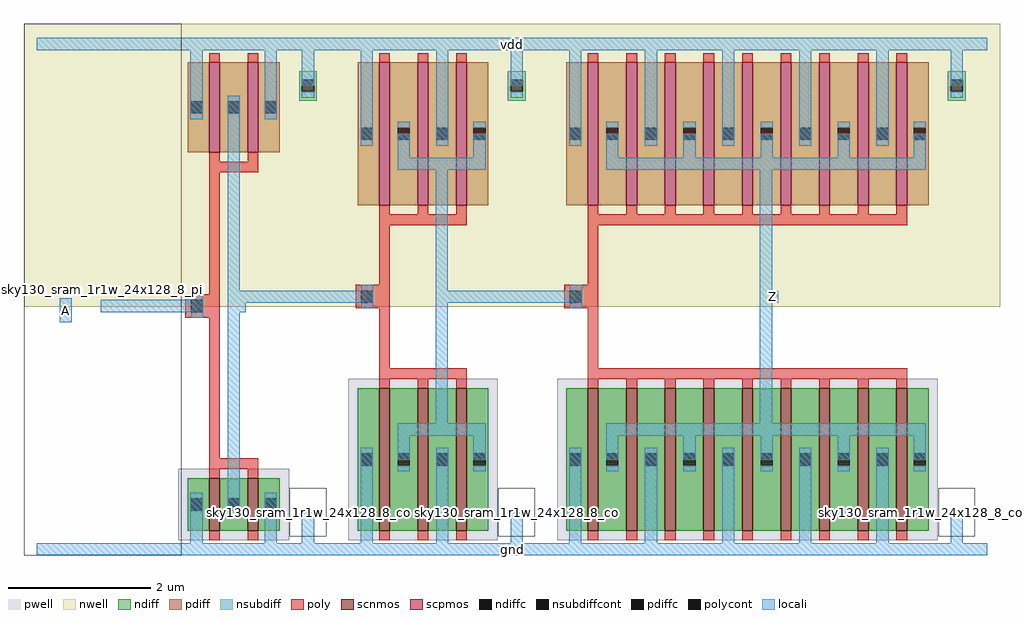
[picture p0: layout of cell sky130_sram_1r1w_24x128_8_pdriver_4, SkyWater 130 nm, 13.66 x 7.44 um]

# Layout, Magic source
magic
tech sky130B
magscale 1 2
<< nwell >>
rect -36 679 2696 1471
<< locali >>
rect 0 1397 2660 1431
rect 64 636 98 702
rect 179 664 449 698
rect 551 690 925 724
rect 1150 690 1509 724
rect 2041 690 2075 724
rect 551 681 585 690
rect 0 -17 2660 17
use sky130_sram_1r1w_24x128_8_pinv_5  sky130_sram_1r1w_24x128_8_pinv_5_0
transform 1 0 0 0 1 0
box -36 -17 404 1471
use sky130_sram_1r1w_24x128_8_pinv_6  sky130_sram_1r1w_24x128_8_pinv_6_0
transform 1 0 368 0 1 0
box -36 -17 512 1471
use sky130_sram_1r1w_24x128_8_pinv_14  sky130_sram_1r1w_24x128_8_pinv_14_0
transform 1 0 844 0 1 0
box -36 -17 620 1471
use sky130_sram_1r1w_24x128_8_pinv_15  sky130_sram_1r1w_24x128_8_pinv_15_0
transform 1 0 1428 0 1 0
box -36 -17 1268 1471
<< labels >>
rlabel locali s 2058 707 2058 707 4 Z
port 1 nsew
rlabel locali s 81 669 81 669 4 A
port 2 nsew
rlabel locali s 1330 0 1330 0 4 gnd
port 3 nsew
rlabel locali s 1330 1414 1330 1414 4 vdd
port 4 nsew
<< properties >>
string FIXED_BBOX 0 0 2660 1414
<< end >>

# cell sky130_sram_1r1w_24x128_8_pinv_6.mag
magic
tech sky130B
magscale 1 2
<< nwell >>
rect -36 679 512 1471
<< poly >>
rect 114 714 144 1055
rect 81 648 144 714
rect 114 255 144 648
<< locali >>
rect 0 1397 476 1431
rect 62 1204 96 1397
rect 64 648 98 714
rect 166 698 200 1270
rect 270 1204 304 1397
rect 374 1297 408 1397
rect 166 664 217 698
rect 166 92 200 664
rect 62 17 96 92
rect 270 17 304 92
rect 374 17 408 104
rect 0 -17 476 17
use sky130_sram_1r1w_24x128_8_contact_15  sky130_sram_1r1w_24x128_8_contact_15_0
transform 1 0 48 0 1 648
box 0 0 66 66
use sky130_sram_1r1w_24x128_8_contact_28  sky130_sram_1r1w_24x128_8_contact_28_0
transform 1 0 366 0 1 1256
box -59 -43 109 125
use sky130_sram_1r1w_24x128_8_contact_29  sky130_sram_1r1w_24x128_8_contact_29_0
transform 1 0 366 0 1 63
box -26 -26 76 108
use sky130_sram_1r1w_24x128_8_nmos_m2_w0_740_sli_dli_da_p  sky130_sram_1r1w_24x128_8_nmos_m2_w0_740_sli_dli_da_p_0
transform 1 0 54 0 1 51
box -26 -26 284 204
use sky130_sram_1r1w_24x128_8_pmos_m2_w1_260_sli_dli_da_p  sky130_sram_1r1w_24x128_8_pmos_m2_w1_260_sli_dli_da_p_0
transform 1 0 54 0 1 1111
box -59 -56 317 306
<< labels >>
rlabel locali s 81 681 81 681 4 A
port 1 nsew
rlabel locali s 200 681 200 681 4 Z
port 2 nsew
rlabel locali s 238 0 238 0 4 gnd
port 3 nsew
rlabel locali s 238 1414 238 1414 4 vdd
port 4 nsew
<< properties >>
string FIXED_BBOX 0 0 476 1414
<< end >>

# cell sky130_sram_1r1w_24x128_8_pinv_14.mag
magic
tech sky130B
magscale 1 2
<< nwell >>
rect -36 679 620 1471
<< poly >>
rect 114 740 144 907
rect 81 674 144 740
rect 114 507 144 674
<< locali >>
rect 0 1397 584 1431
rect 62 1130 96 1397
rect 274 1130 308 1397
rect 482 1297 516 1397
rect 64 674 98 740
rect 272 724 306 1096
rect 272 690 323 724
rect 272 318 306 690
rect 62 17 96 218
rect 274 17 308 218
rect 482 17 516 104
rect 0 -17 584 17
use sky130_sram_1r1w_24x128_8_contact_15  sky130_sram_1r1w_24x128_8_contact_15_0
transform 1 0 48 0 1 674
box 0 0 66 66
use sky130_sram_1r1w_24x128_8_contact_28  sky130_sram_1r1w_24x128_8_contact_28_0
transform 1 0 474 0 1 1256
box -59 -43 109 125
use sky130_sram_1r1w_24x128_8_contact_29  sky130_sram_1r1w_24x128_8_contact_29_0
transform 1 0 474 0 1 63
box -26 -26 76 108
use sky130_sram_1r1w_24x128_8_nmos_m3_w2_000_sli_dli_da_p  sky130_sram_1r1w_24x128_8_nmos_m3_w2_000_sli_dli_da_p_0
transform 1 0 54 0 1 51
box -26 -26 392 456
use sky130_sram_1r1w_24x128_8_pmos_m3_w2_000_sli_dli_da_p  sky130_sram_1r1w_24x128_8_pmos_m3_w2_000_sli_dli_da_p_0
transform 1 0 54 0 1 963
box -59 -56 425 454
<< labels >>
rlabel locali s 81 707 81 707 4 A
port 1 nsew
rlabel locali s 306 707 306 707 4 Z
port 2 nsew
rlabel locali s 292 0 292 0 4 gnd
port 3 nsew
rlabel locali s 292 1414 292 1414 4 vdd
port 4 nsew
<< properties >>
string FIXED_BBOX 0 0 584 1414
<< end >>

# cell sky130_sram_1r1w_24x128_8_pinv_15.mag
magic
tech sky130B
magscale 1 2
<< nwell >>
rect -36 679 1268 1471
<< poly >>
rect 114 740 144 907
rect 81 674 144 740
rect 114 507 144 674
<< locali >>
rect 0 1397 1232 1431
rect 62 1130 96 1397
rect 274 1130 308 1397
rect 490 1130 524 1397
rect 706 1130 740 1397
rect 922 1130 956 1397
rect 1130 1297 1164 1397
rect 64 674 98 740
rect 596 724 630 1096
rect 596 690 647 724
rect 596 318 630 690
rect 62 17 96 218
rect 274 17 308 218
rect 490 17 524 218
rect 706 17 740 218
rect 922 17 956 218
rect 1130 17 1164 104
rect 0 -17 1232 17
use sky130_sram_1r1w_24x128_8_contact_15  sky130_sram_1r1w_24x128_8_contact_15_0
transform 1 0 48 0 1 674
box 0 0 66 66
use sky130_sram_1r1w_24x128_8_contact_28  sky130_sram_1r1w_24x128_8_contact_28_0
transform 1 0 1122 0 1 1256
box -59 -43 109 125
use sky130_sram_1r1w_24x128_8_contact_29  sky130_sram_1r1w_24x128_8_contact_29_0
transform 1 0 1122 0 1 63
box -26 -26 76 108
use sky130_sram_1r1w_24x128_8_nmos_m9_w2_000_sli_dli_da_p  sky130_sram_1r1w_24x128_8_nmos_m9_w2_000_sli_dli_da_p_0
transform 1 0 54 0 1 51
box -26 -26 1040 456
use sky130_sram_1r1w_24x128_8_pmos_m9_w2_000_sli_dli_da_p  sky130_sram_1r1w_24x128_8_pmos_m9_w2_000_sli_dli_da_p_0
transform 1 0 54 0 1 963
box -59 -56 1073 454
<< labels >>
rlabel locali s 81 707 81 707 4 A
port 1 nsew
rlabel locali s 630 707 630 707 4 Z
port 2 nsew
rlabel locali s 616 0 616 0 4 gnd
port 3 nsew
rlabel locali s 616 1414 616 1414 4 vdd
port 4 nsew
<< properties >>
string FIXED_BBOX 0 0 1232 1414
<< end >>

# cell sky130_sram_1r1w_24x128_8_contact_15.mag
magic
tech sky130B
<< poly >>
rect 0 25 33 33
rect 0 8 8 25
rect 25 8 33 25
rect 0 0 33 8
<< polycont >>
rect 8 8 25 25
<< locali >>
rect 8 25 25 33
rect 8 0 25 8
<< properties >>
string FIXED_BBOX -10 -10 43 43
<< end >>

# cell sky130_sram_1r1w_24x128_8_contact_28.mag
magic
tech sky130B
magscale 1 2
<< nwell >>
rect -59 -43 109 125
<< nsubdiff >>
rect 0 58 50 82
rect 0 24 8 58
rect 42 24 50 58
rect 0 0 50 24
<< nsubdiffcont >>
rect 8 24 42 58
<< locali >>
rect 8 58 42 74
rect 8 8 42 24
<< properties >>
string FIXED_BBOX -59 -43 109 125
<< end >>

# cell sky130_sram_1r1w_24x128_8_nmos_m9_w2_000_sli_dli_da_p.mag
magic
tech sky130B
magscale 1 2
<< pwell >>
rect -26 -26 1040 426
<< scnmos >>
rect 60 0 90 400
rect 168 0 198 400
rect 276 0 306 400
rect 384 0 414 400
rect 492 0 522 400
rect 600 0 630 400
rect 708 0 738 400
rect 816 0 846 400
rect 924 0 954 400
<< ndiff >>
rect 0 0 60 400
rect 90 0 168 400
rect 198 0 276 400
rect 306 0 384 400
rect 414 0 492 400
rect 522 0 600 400
rect 630 0 708 400
rect 738 0 816 400
rect 846 0 924 400
rect 954 0 1014 400
<< poly >>
rect 60 426 954 456
rect 60 400 90 426
rect 168 400 198 426
rect 276 400 306 426
rect 384 400 414 426
rect 492 400 522 426
rect 600 400 630 426
rect 708 400 738 426
rect 816 400 846 426
rect 924 400 954 426
rect 60 -26 90 0
rect 168 -26 198 0
rect 276 -26 306 0
rect 384 -26 414 0
rect 492 -26 522 0
rect 600 -26 630 0
rect 708 -26 738 0
rect 816 -26 846 0
rect 924 -26 954 0
<< locali >>
rect 112 267 1006 301
rect 8 167 42 233
rect 112 200 146 267
rect 220 167 254 233
rect 328 200 362 267
rect 436 167 470 233
rect 544 200 578 267
rect 652 167 686 233
rect 760 200 794 267
rect 868 167 902 233
rect 972 200 1006 267
use sky130_sram_1r1w_24x128_8_contact_10  sky130_sram_1r1w_24x128_8_contact_10_0
transform 1 0 964 0 1 167
box -26 -22 76 88
use sky130_sram_1r1w_24x128_8_contact_10  sky130_sram_1r1w_24x128_8_contact_10_1
transform 1 0 860 0 1 167
box -26 -22 76 88
use sky130_sram_1r1w_24x128_8_contact_10  sky130_sram_1r1w_24x128_8_contact_10_2
transform 1 0 752 0 1 167
box -26 -22 76 88
use sky130_sram_1r1w_24x128_8_contact_10  sky130_sram_1r1w_24x128_8_contact_10_3
transform 1 0 644 0 1 167
box -26 -22 76 88
use sky130_sram_1r1w_24x128_8_contact_10  sky130_sram_1r1w_24x128_8_contact_10_4
transform 1 0 536 0 1 167
box -26 -22 76 88
use sky130_sram_1r1w_24x128_8_contact_10  sky130_sram_1r1w_24x128_8_contact_10_5
transform 1 0 428 0 1 167
box -26 -22 76 88
use sky130_sram_1r1w_24x128_8_contact_10  sky130_sram_1r1w_24x128_8_contact_10_6
transform 1 0 320 0 1 167
box -26 -22 76 88
use sky130_sram_1r1w_24x128_8_contact_10  sky130_sram_1r1w_24x128_8_contact_10_7
transform 1 0 212 0 1 167
box -26 -22 76 88
use sky130_sram_1r1w_24x128_8_contact_10  sky130_sram_1r1w_24x128_8_contact_10_8
transform 1 0 104 0 1 167
box -26 -22 76 88
use sky130_sram_1r1w_24x128_8_contact_10  sky130_sram_1r1w_24x128_8_contact_10_9
transform 1 0 0 0 1 167
box -26 -22 76 88
<< labels >>
rlabel poly s 507 441 507 441 4 G
port 1 nsew
rlabel locali s 885 200 885 200 4 S
port 2 nsew
rlabel locali s 237 200 237 200 4 S
port 2 nsew
rlabel locali s 669 200 669 200 4 S
port 2 nsew
rlabel locali s 25 200 25 200 4 S
port 2 nsew
rlabel locali s 453 200 453 200 4 S
port 2 nsew
rlabel locali s 559 284 559 284 4 D
port 3 nsew
<< properties >>
string FIXED_BBOX -25 -26 1039 456
<< end >>

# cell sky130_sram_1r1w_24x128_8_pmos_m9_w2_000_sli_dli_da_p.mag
magic
tech sky130B
magscale 1 2
<< nwell >>
rect -54 -54 1068 454
<< scpmos >>
rect 60 0 90 400
rect 168 0 198 400
rect 276 0 306 400
rect 384 0 414 400
rect 492 0 522 400
rect 600 0 630 400
rect 708 0 738 400
rect 816 0 846 400
rect 924 0 954 400
<< pdiff >>
rect 0 0 60 400
rect 90 0 168 400
rect 198 0 276 400
rect 306 0 384 400
rect 414 0 492 400
rect 522 0 600 400
rect 630 0 708 400
rect 738 0 816 400
rect 846 0 924 400
rect 954 0 1014 400
<< poly >>
rect 60 400 90 426
rect 168 400 198 426
rect 276 400 306 426
rect 384 400 414 426
rect 492 400 522 426
rect 600 400 630 426
rect 708 400 738 426
rect 816 400 846 426
rect 924 400 954 426
rect 60 -26 90 0
rect 168 -26 198 0
rect 276 -26 306 0
rect 384 -26 414 0
rect 492 -26 522 0
rect 600 -26 630 0
rect 708 -26 738 0
rect 816 -26 846 0
rect 924 -26 954 0
rect 60 -56 954 -26
<< locali >>
rect 8 167 42 233
rect 112 133 146 200
rect 220 167 254 233
rect 328 133 362 200
rect 436 167 470 233
rect 544 133 578 200
rect 652 167 686 233
rect 760 133 794 200
rect 868 167 902 233
rect 972 133 1006 200
rect 112 99 1006 133
use sky130_sram_1r1w_24x128_8_contact_11  sky130_sram_1r1w_24x128_8_contact_11_0
transform 1 0 964 0 1 167
box -59 -51 109 117
use sky130_sram_1r1w_24x128_8_contact_11  sky130_sram_1r1w_24x128_8_contact_11_1
transform 1 0 860 0 1 167
box -59 -51 109 117
use sky130_sram_1r1w_24x128_8_contact_11  sky130_sram_1r1w_24x128_8_contact_11_2
transform 1 0 752 0 1 167
box -59 -51 109 117
use sky130_sram_1r1w_24x128_8_contact_11  sky130_sram_1r1w_24x128_8_contact_11_3
transform 1 0 644 0 1 167
box -59 -51 109 117
use sky130_sram_1r1w_24x128_8_contact_11  sky130_sram_1r1w_24x128_8_contact_11_4
transform 1 0 536 0 1 167
box -59 -51 109 117
use sky130_sram_1r1w_24x128_8_contact_11  sky130_sram_1r1w_24x128_8_contact_11_5
transform 1 0 428 0 1 167
box -59 -51 109 117
use sky130_sram_1r1w_24x128_8_contact_11  sky130_sram_1r1w_24x128_8_contact_11_6
transform 1 0 320 0 1 167
box -59 -51 109 117
use sky130_sram_1r1w_24x128_8_contact_11  sky130_sram_1r1w_24x128_8_contact_11_7
transform 1 0 212 0 1 167
box -59 -51 109 117
use sky130_sram_1r1w_24x128_8_contact_11  sky130_sram_1r1w_24x128_8_contact_11_8
transform 1 0 104 0 1 167
box -59 -51 109 117
use sky130_sram_1r1w_24x128_8_contact_11  sky130_sram_1r1w_24x128_8_contact_11_9
transform 1 0 0 0 1 167
box -59 -51 109 117
<< labels >>
rlabel poly s 507 -41 507 -41 4 G
port 1 nsew
rlabel locali s 885 200 885 200 4 S
port 2 nsew
rlabel locali s 237 200 237 200 4 S
port 2 nsew
rlabel locali s 669 200 669 200 4 S
port 2 nsew
rlabel locali s 25 200 25 200 4 S
port 2 nsew
rlabel locali s 453 200 453 200 4 S
port 2 nsew
rlabel locali s 559 116 559 116 4 D
port 3 nsew
<< properties >>
string FIXED_BBOX -54 -56 1068 454
<< end >>

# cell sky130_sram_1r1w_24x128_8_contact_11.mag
magic
tech sky130B
magscale 1 2
<< nwell >>
rect -59 -51 109 117
<< pdiff >>
rect 0 50 50 62
rect 0 16 8 50
rect 42 16 50 50
rect 0 4 50 16
<< pdiffc >>
rect 8 16 42 50
<< locali >>
rect 8 50 42 66
rect 8 0 42 16
<< properties >>
string FIXED_BBOX -59 -51 109 117
<< end >>

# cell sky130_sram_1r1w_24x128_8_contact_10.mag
magic
tech sky130B
<< pwell >>
rect -13 -11 38 44
<< ndiff >>
rect 0 25 25 31
rect 0 8 4 25
rect 21 8 25 25
rect 0 2 25 8
<< ndiffc >>
rect 4 8 21 25
<< locali >>
rect 4 25 21 33
rect 4 0 21 8
<< properties >>
string FIXED_BBOX -12 -10 37 43
<< end >>

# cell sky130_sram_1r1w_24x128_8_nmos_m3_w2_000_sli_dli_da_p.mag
magic
tech sky130B
magscale 1 2
<< pwell >>
rect -26 -26 392 426
<< scnmos >>
rect 60 0 90 400
rect 168 0 198 400
rect 276 0 306 400
<< ndiff >>
rect 0 0 60 400
rect 90 0 168 400
rect 198 0 276 400
rect 306 0 366 400
<< poly >>
rect 60 426 306 456
rect 60 400 90 426
rect 168 400 198 426
rect 276 400 306 426
rect 60 -26 90 0
rect 168 -26 198 0
rect 276 -26 306 0
<< locali >>
rect 112 267 358 301
rect 8 167 42 233
rect 112 200 146 267
rect 220 167 254 233
rect 324 200 358 267
use sky130_sram_1r1w_24x128_8_contact_10  sky130_sram_1r1w_24x128_8_contact_10_0
transform 1 0 316 0 1 167
box -26 -22 76 88
use sky130_sram_1r1w_24x128_8_contact_10  sky130_sram_1r1w_24x128_8_contact_10_1
transform 1 0 212 0 1 167
box -26 -22 76 88
use sky130_sram_1r1w_24x128_8_contact_10  sky130_sram_1r1w_24x128_8_contact_10_2
transform 1 0 104 0 1 167
box -26 -22 76 88
use sky130_sram_1r1w_24x128_8_contact_10  sky130_sram_1r1w_24x128_8_contact_10_3
transform 1 0 0 0 1 167
box -26 -22 76 88
<< labels >>
rlabel poly s 183 441 183 441 4 G
port 1 nsew
rlabel locali s 25 200 25 200 4 S
port 2 nsew
rlabel locali s 237 200 237 200 4 S
port 2 nsew
rlabel locali s 235 284 235 284 4 D
port 3 nsew
<< properties >>
string FIXED_BBOX -25 -26 391 456
<< end >>

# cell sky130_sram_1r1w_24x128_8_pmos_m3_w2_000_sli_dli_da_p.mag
magic
tech sky130B
magscale 1 2
<< nwell >>
rect -54 -54 420 454
<< scpmos >>
rect 60 0 90 400
rect 168 0 198 400
rect 276 0 306 400
<< pdiff >>
rect 0 0 60 400
rect 90 0 168 400
rect 198 0 276 400
rect 306 0 366 400
<< poly >>
rect 60 400 90 426
rect 168 400 198 426
rect 276 400 306 426
rect 60 -26 90 0
rect 168 -26 198 0
rect 276 -26 306 0
rect 60 -56 306 -26
<< locali >>
rect 8 167 42 233
rect 112 133 146 200
rect 220 167 254 233
rect 324 133 358 200
rect 112 99 358 133
use sky130_sram_1r1w_24x128_8_contact_11  sky130_sram_1r1w_24x128_8_contact_11_0
transform 1 0 316 0 1 167
box -59 -51 109 117
use sky130_sram_1r1w_24x128_8_contact_11  sky130_sram_1r1w_24x128_8_contact_11_1
transform 1 0 212 0 1 167
box -59 -51 109 117
use sky130_sram_1r1w_24x128_8_contact_11  sky130_sram_1r1w_24x128_8_contact_11_2
transform 1 0 104 0 1 167
box -59 -51 109 117
use sky130_sram_1r1w_24x128_8_contact_11  sky130_sram_1r1w_24x128_8_contact_11_3
transform 1 0 0 0 1 167
box -59 -51 109 117
<< labels >>
rlabel poly s 183 -41 183 -41 4 G
port 1 nsew
rlabel locali s 25 200 25 200 4 S
port 2 nsew
rlabel locali s 237 200 237 200 4 S
port 2 nsew
rlabel locali s 235 116 235 116 4 D
port 3 nsew
<< properties >>
string FIXED_BBOX -54 -56 420 454
<< end >>

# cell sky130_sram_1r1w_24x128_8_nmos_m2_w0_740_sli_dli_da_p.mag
magic
tech sky130B
magscale 1 2
<< pwell >>
rect -26 -26 284 174
<< scnmos >>
rect 60 0 90 148
rect 168 0 198 148
<< ndiff >>
rect 0 0 60 148
rect 90 0 168 148
rect 198 0 258 148
<< poly >>
rect 60 174 198 204
rect 60 148 90 174
rect 168 148 198 174
rect 60 -26 90 0
rect 168 -26 198 0
<< locali >>
rect 8 41 42 107
rect 112 41 146 107
rect 216 41 250 107
use sky130_sram_1r1w_24x128_8_contact_10  sky130_sram_1r1w_24x128_8_contact_10_0
transform 1 0 208 0 1 41
box -26 -22 76 88
use sky130_sram_1r1w_24x128_8_contact_10  sky130_sram_1r1w_24x128_8_contact_10_1
transform 1 0 104 0 1 41
box -26 -22 76 88
use sky130_sram_1r1w_24x128_8_contact_10  sky130_sram_1r1w_24x128_8_contact_10_2
transform 1 0 0 0 1 41
box -26 -22 76 88
<< labels >>
rlabel poly s 129 189 129 189 4 G
port 1 nsew
rlabel locali s 233 74 233 74 4 S
port 2 nsew
rlabel locali s 25 74 25 74 4 S
port 2 nsew
rlabel locali s 129 74 129 74 4 D
port 3 nsew
<< properties >>
string FIXED_BBOX -25 -26 283 204
<< end >>

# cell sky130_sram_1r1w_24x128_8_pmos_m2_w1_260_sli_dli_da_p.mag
magic
tech sky130B
magscale 1 2
<< nwell >>
rect -54 -54 312 306
<< scpmos >>
rect 60 0 90 252
rect 168 0 198 252
<< pdiff >>
rect 0 0 60 252
rect 90 0 168 252
rect 198 0 258 252
<< poly >>
rect 60 252 90 278
rect 168 252 198 278
rect 60 -26 90 0
rect 168 -26 198 0
rect 60 -56 198 -26
<< locali >>
rect 8 93 42 159
rect 112 93 146 159
rect 216 93 250 159
use sky130_sram_1r1w_24x128_8_contact_11  sky130_sram_1r1w_24x128_8_contact_11_0
transform 1 0 208 0 1 93
box -59 -51 109 117
use sky130_sram_1r1w_24x128_8_contact_11  sky130_sram_1r1w_24x128_8_contact_11_1
transform 1 0 104 0 1 93
box -59 -51 109 117
use sky130_sram_1r1w_24x128_8_contact_11  sky130_sram_1r1w_24x128_8_contact_11_2
transform 1 0 0 0 1 93
box -59 -51 109 117
<< labels >>
rlabel poly s 129 -41 129 -41 4 G
port 1 nsew
rlabel locali s 233 126 233 126 4 S
port 2 nsew
rlabel locali s 25 126 25 126 4 S
port 2 nsew
rlabel locali s 129 126 129 126 4 D
port 3 nsew
<< properties >>
string FIXED_BBOX -54 -56 312 306
<< end >>
